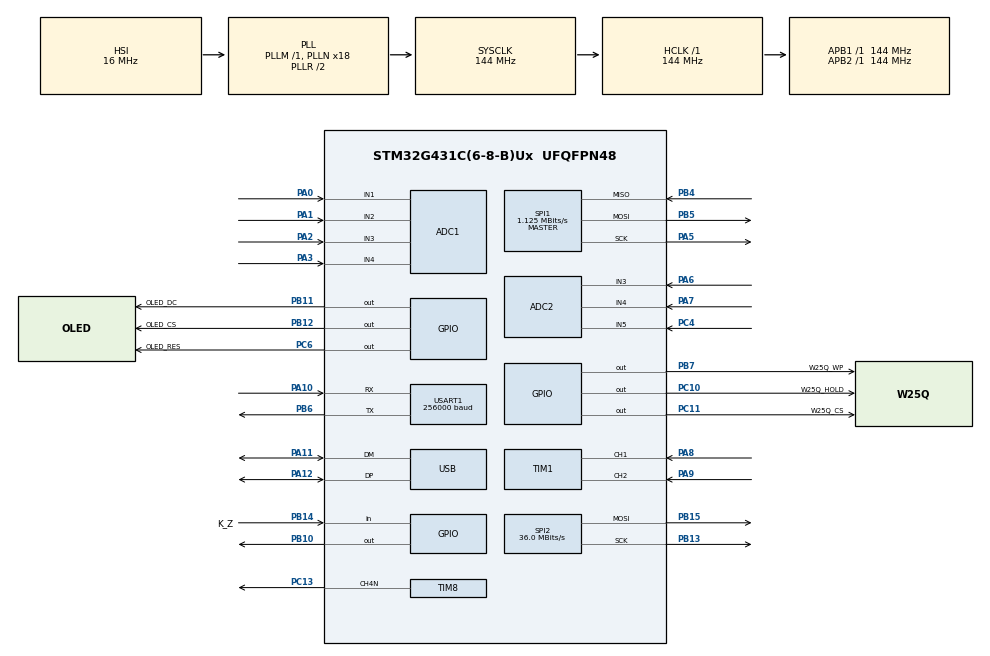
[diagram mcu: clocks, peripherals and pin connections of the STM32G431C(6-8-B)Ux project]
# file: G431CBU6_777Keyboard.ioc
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ADC1.Channel-0\#ChannelRegularConversion=ADC_CHANNEL_4
ADC1.Channel-1\#ChannelRegularConversion=ADC_CHANNEL_3
ADC1.Channel-2\#ChannelRegularConversion=ADC_CHANNEL_2
ADC1.Channel-3\#ChannelRegularConversion=ADC_CHANNEL_1
ADC1.DMAContinuousRequests=DISABLE
ADC1.EnableAnalogWatchDog1=true
ADC1.NbrOfConversion=4
ADC1.NbrOfConversionFlag=1
ADC1.OffsetNumber-0\#ChannelRegularConversion=ADC_OFFSET_NONE
ADC1.OffsetNumber-1\#ChannelRegularConversion=ADC_OFFSET_NONE
ADC1.OffsetNumber-2\#ChannelRegularConversion=ADC_OFFSET_NONE
ADC1.OffsetNumber-3\#ChannelRegularConversion=ADC_OFFSET_NONE
ADC1.OversamplingMode=ENABLE
ADC1.Rank-0\#ChannelRegularConversion=1
ADC1.Rank-1\#ChannelRegularConversion=2
ADC1.Rank-2\#ChannelRegularConversion=3
ADC1.Rank-3\#ChannelRegularConversion=4
ADC1.Ratio=ADC_OVERSAMPLING_RATIO_256
ADC1.RightBitShift=ADC_RIGHTBITSHIFT_4
ADC1.SamplingTime-0\#ChannelRegularConversion=ADC_SAMPLETIME_92CYCLES_5
ADC1.SamplingTime-1\#ChannelRegularConversion=ADC_SAMPLETIME_92CYCLES_5
ADC1.SamplingTime-2\#ChannelRegularConversion=ADC_SAMPLETIME_92CYCLES_5
ADC1.SamplingTime-3\#ChannelRegularConversion=ADC_SAMPLETIME_92CYCLES_5
ADC1.WatchdogChannel=ADC_CHANNEL_4
ADC1.master=1
ADC2.Channel-2\#ChannelRegularConversion=ADC_CHANNEL_5
ADC2.Channel-5\#ChannelRegularConversion=ADC_CHANNEL_4
ADC2.Channel-6\#ChannelRegularConversion=ADC_CHANNEL_3
ADC2.DMAContinuousRequests=DISABLE
ADC2.NbrOfConversion=3
ADC2.NbrOfConversionFlag=1
ADC2.OffsetNumber-2\#ChannelRegularConversion=ADC_OFFSET_NONE
ADC2.OffsetNumber-5\#ChannelRegularConversion=ADC_OFFSET_NONE
ADC2.OffsetNumber-6\#ChannelRegularConversion=ADC_OFFSET_NONE
ADC2.OversamplingMode=ENABLE
ADC2.OversamplingStopReset=ADC_REGOVERSAMPLING_CONTINUED_MODE
ADC2.Rank-2\#ChannelRegularConversion=1
ADC2.Rank-5\#ChannelRegularConversion=2
ADC2.Rank-6\#ChannelRegularConversion=3
ADC2.Ratio=ADC_OVERSAMPLING_RATIO_256
ADC2.RightBitShift=ADC_RIGHTBITSHIFT_4
ADC2.SamplingTime-2\#ChannelRegularConversion=ADC_SAMPLETIME_92CYCLES_5
ADC2.SamplingTime-5\#ChannelRegularConversion=ADC_SAMPLETIME_92CYCLES_5
ADC2.SamplingTime-6\#ChannelRegularConversion=ADC_SAMPLETIME_92CYCLES_5
Dma.ADC1.0.Direction=DMA_PERIPH_TO_MEMORY
Dma.ADC1.0.EventEnable=DISABLE
Dma.ADC1.0.Instance=DMA1_Channel1
Dma.ADC1.0.MemDataAlignment=DMA_MDATAALIGN_WORD
Dma.ADC1.0.MemInc=DMA_MINC_ENABLE
Dma.ADC1.0.Mode=DMA_NORMAL
Dma.ADC1.0.PeriphDataAlignment=DMA_PDATAALIGN_WORD
Dma.ADC1.0.PeriphInc=DMA_PINC_DISABLE
Dma.ADC1.0.Polarity=HAL_DMAMUX_REQ_GEN_RISING
Dma.ADC1.0.Priority=DMA_PRIORITY_LOW
Dma.ADC1.0.RequestNumber=1
Dma.ADC1.0.SignalID=NONE
Dma.ADC1.0.SyncEnable=DISABLE
Dma.ADC1.0.SyncPolarity=HAL_DMAMUX_SYNC_NO_EVENT
Dma.ADC1.0.SyncRequestNumber=1
Dma.ADC1.0.SyncSignalID=NONE
Dma.ADC2.1.Direction=DMA_PERIPH_TO_MEMORY
Dma.ADC2.1.EventEnable=DISABLE
Dma.ADC2.1.Instance=DMA2_Channel2
Dma.ADC2.1.MemDataAlignment=DMA_MDATAALIGN_WORD
Dma.ADC2.1.MemInc=DMA_MINC_ENABLE
Dma.ADC2.1.Mode=DMA_NORMAL
Dma.ADC2.1.PeriphDataAlignment=DMA_PDATAALIGN_WORD
Dma.ADC2.1.PeriphInc=DMA_PINC_DISABLE
Dma.ADC2.1.Polarity=HAL_DMAMUX_REQ_GEN_RISING
Dma.ADC2.1.Priority=DMA_PRIORITY_LOW
Dma.ADC2.1.RequestNumber=1
Dma.ADC2.1.SignalID=NONE
Dma.ADC2.1.SyncEnable=DISABLE
Dma.ADC2.1.SyncPolarity=HAL_DMAMUX_SYNC_NO_EVENT
Dma.ADC2.1.SyncRequestNumber=1
Dma.ADC2.1.SyncSignalID=NONE
Dma.MEMTOMEM.2.Direction=DMA_MEMORY_TO_MEMORY
Dma.MEMTOMEM.2.EventEnable=DISABLE
Dma.MEMTOMEM.2.Instance=DMA2_Channel6
Dma.MEMTOMEM.2.MemDataAlignment=DMA_MDATAALIGN_HALFWORD
Dma.MEMTOMEM.2.MemInc=DMA_MINC_ENABLE
Dma.MEMTOMEM.2.Mode=DMA_NORMAL
Dma.MEMTOMEM.2.PeriphDataAlignment=DMA_PDATAALIGN_HALFWORD
Dma.MEMTOMEM.2.PeriphInc=DMA_PINC_ENABLE
Dma.MEMTOMEM.2.Polarity=HAL_DMAMUX_REQ_GEN_RISING
Dma.MEMTOMEM.2.Priority=DMA_PRIORITY_LOW
Dma.MEMTOMEM.2.RequestNumber=1
Dma.MEMTOMEM.2.SignalID=NONE
Dma.MEMTOMEM.2.SyncEnable=DISABLE
Dma.MEMTOMEM.2.SyncPolarity=HAL_DMAMUX_SYNC_NO_EVENT
Dma.MEMTOMEM.2.SyncRequestNumber=1
Dma.MEMTOMEM.2.SyncSignalID=NONE
Dma.Request0=ADC1
Dma.Request1=ADC2
Dma.Request2=MEMTOMEM
Mcu.Family=STM32G4
Mcu.Name=STM32G431C(6-8-B)Ux
Mcu.Package=UFQFPN48
NVIC.ADC1_2_IRQn=true\:0\:0\:true\:false\:true\:true\:true\:true
NVIC.DMA1_Channel1_IRQn=true\:0\:0\:false\:false\:true\:false\:true\:true
NVIC.DMA2_Channel2_IRQn=true\:0\:0\:false\:false\:true\:false\:true\:true
NVIC.FPU_IRQn=true\:0\:0\:false\:false\:true\:true\:false\:true
NVIC.PriorityGroup=NVIC_PRIORITYGROUP_2
NVIC.TIM1_CC_IRQn=true\:1\:0\:true\:false\:true\:true\:true\:true
NVIC.TIM2_IRQn=true\:0\:0\:false\:false\:true\:true\:true\:true
NVIC.TIM3_IRQn=true\:2\:0\:true\:false\:true\:true\:true\:true
NVIC.TIM4_IRQn=true\:2\:0\:true\:false\:true\:true\:true\:true
NVIC.TIM7_IRQn=true\:0\:0\:false\:false\:true\:true\:true\:true
NVIC.TIM8_BRK_IRQn=true\:2\:0\:true\:false\:true\:true\:true\:true
NVIC.TIM8_CC_IRQn=true\:2\:0\:true\:false\:true\:true\:true\:true
NVIC.TIM8_TRG_COM_IRQn=true\:2\:0\:true\:false\:true\:true\:true\:true
NVIC.TIM8_UP_IRQn=true\:2\:0\:true\:false\:true\:true\:true\:true
NVIC.USART1_IRQn=true\:1\:0\:true\:false\:true\:true\:true\:true
NVIC.USB_HP_IRQn=true\:0\:0\:true\:false\:true\:true\:true\:true
NVIC.USB_LP_IRQn=true\:1\:0\:true\:false\:true\:false\:true\:true
PA0.Mode=IN1-Single-Ended
PA0.Signal=ADC1_IN1
PA1.Mode=IN2-Single-Ended
PA1.Signal=ADC1_IN2
PA10.GPIO_Speed=GPIO_SPEED_FREQ_VERY_HIGH
PA10.Mode=Asynchronous
PA10.Signal=USART1_RX
PA11.Mode=Device
PA11.Signal=USB_DM
PA12.Mode=Device
PA12.Signal=USB_DP
PA13.Mode=Serial_Wire
PA13.Signal=SYS_JTMS-SWDIO
PA14.Mode=Serial_Wire
PA14.Signal=SYS_JTCK-SWCLK
PA2.Mode=IN3-Single-Ended
PA2.Signal=ADC1_IN3
PA3.Mode=IN4-Single-Ended
PA3.Signal=ADC1_IN4
PA5.GPIO_Mode=GPIO_MODE_AF_PP
PA5.GPIO_PuPd=GPIO_NOPULL
PA5.GPIO_Speed=GPIO_SPEED_FREQ_LOW
PA5.Mode=Full_Duplex_Master
PA5.Signal=SPI1_SCK
PA6.Mode=IN3-Single-Ended
PA6.Signal=ADC2_IN3
PA7.Mode=IN4-Single-Ended
PA7.Signal=ADC2_IN4
PA8.Signal=S_TIM1_CH1
PA9.Signal=S_TIM1_CH2
PB10.Signal=GPIO_Output
PB11.GPIO_Label=OLED_DC
PB11.GPIO_Speed=GPIO_SPEED_FREQ_VERY_HIGH
PB11.Signal=GPIO_Output
PB12.GPIO_Label=OLED_CS
PB12.GPIO_Speed=GPIO_SPEED_FREQ_VERY_HIGH
PB12.Signal=GPIO_Output
PB13.GPIO_PuPd=GPIO_PULLUP
PB13.GPIO_Speed=GPIO_SPEED_FREQ_VERY_HIGH
PB13.Mode=TX_Only_Simplex_Unidirect_Master
PB13.Signal=SPI2_SCK
PB14.GPIO_Label=K_Z
PB14.GPIO_PuPd=GPIO_PULLUP
PB14.Signal=GPIO_Input
PB15.GPIO_PuPd=GPIO_PULLUP
PB15.GPIO_Speed=GPIO_SPEED_FREQ_VERY_HIGH
PB15.Mode=TX_Only_Simplex_Unidirect_Master
PB15.Signal=SPI2_MOSI
PB4.GPIO_Mode=GPIO_MODE_AF_PP
PB4.GPIO_PuPd=GPIO_NOPULL
PB4.GPIO_Speed=GPIO_SPEED_FREQ_LOW
PB4.Mode=Full_Duplex_Master
PB4.Signal=SPI1_MISO
PB5.GPIO_Mode=GPIO_MODE_AF_PP
PB5.GPIO_PuPd=GPIO_NOPULL
PB5.GPIO_Speed=GPIO_SPEED_FREQ_LOW
PB5.Mode=Full_Duplex_Master
PB5.Signal=SPI1_MOSI
PB6.GPIO_Speed=GPIO_SPEED_FREQ_HIGH
PB6.Mode=Asynchronous
PB6.Signal=USART1_TX
PB7.GPIO_Label=W25Q_WP
PB7.Signal=GPIO_Output
PC10.GPIO_Label=W25Q_HOLD
PC10.Signal=GPIO_Output
PC11.GPIO_Label=W25Q_CS
PC11.GPIO_Speed=GPIO_SPEED_FREQ_VERY_HIGH
PC11.PinState=GPIO_PIN_SET
PC11.Signal=GPIO_Output
PC13.GPIO_ModeDefaultPP=GPIO_MODE_AF_OD
PC13.GPIO_PuPd=GPIO_NOPULL
PC13.Mode=PWM Generation4 CH4N
PC13.Signal=TIM8_CH4N
PC4.Mode=IN5-Single-Ended
PC4.Signal=ADC2_IN5
PC6.GPIO_Label=OLED_RES
PC6.GPIO_PuPd=GPIO_PULLUP
PC6.GPIO_Speed=GPIO_SPEED_FREQ_VERY_HIGH
PC6.Signal=GPIO_Output
PF0-OSC_IN.Mode=HSE-External-Oscillator
PF0-OSC_IN.Signal=RCC_OSC_IN
PF1-OSC_OUT.Mode=HSE-External-Oscillator
PF1-OSC_OUT.Signal=RCC_OSC_OUT
ProjectManager.HeapSize=0x200
ProjectManager.StackSize=0x400
ProjectManager.TargetToolchain=CMake
RCC.ADC12Freq_Value=144000000
RCC.AHBFreq_Value=144000000
RCC.APB1Freq_Value=144000000
RCC.APB1TimFreq_Value=144000000
RCC.APB2Freq_Value=144000000
RCC.APB2TimFreq_Value=144000000
RCC.CK48CLockSelection=RCC_USBCLKSOURCE_HSI48
RCC.CortexFreq_Value=144000000
RCC.EXTERNAL_CLOCK_VALUE=12288000
RCC.HCLKFreq_Value=144000000
RCC.HSE_VALUE=12000000
RCC.HSI48_VALUE=48000000
RCC.HSI_VALUE=16000000
RCC.LSE_VALUE=32768
RCC.PLLN=18
RCC.PLLQ=RCC_PLLQ_DIV6
RCC.SYSCLKFreq_VALUE=144000000
RCC.SYSCLKSource=RCC_SYSCLKSOURCE_PLLCLK
RCC.USBFreq_Value=48000000
RCC.VCOOutputFreq_Value=288000000
SH.S_TIM1_CH1.0=TIM1_CH1,Encoder_Interface
SH.S_TIM1_CH2.0=TIM1_CH2,Encoder_Interface
SPI1.BaudRatePrescaler=SPI_BAUDRATEPRESCALER_128
SPI1.CLKPhase=SPI_PHASE_2EDGE
SPI1.CLKPolarity=SPI_POLARITY_HIGH
SPI1.CalculateBaudRate=1.125 MBits/s
SPI1.DataSize=SPI_DATASIZE_8BIT
SPI1.Direction=SPI_DIRECTION_2LINES
SPI1.Mode=SPI_MODE_MASTER
SPI1.VirtualType=VM_MASTER
SPI2.BaudRatePrescaler=SPI_BAUDRATEPRESCALER_4
SPI2.CalculateBaudRate=36.0 MBits/s
SPI2.DataSize=SPI_DATASIZE_8BIT
SPI2.Direction=SPI_DIRECTION_2LINES
SPI2.Mode=SPI_MODE_MASTER
SPI2.VirtualType=VM_MASTER
TIM2.PeriodNoDither=170
TIM2.Prescaler=71
TIM3.PeriodNoDither=499
TIM3.Prescaler=1439
TIM4.PeriodNoDither=9999
TIM4.Prescaler=719
TIM7.PeriodNoDither=99
TIM7.Prescaler=1439
TIM8.AutoReloadPreload=TIM_AUTORELOAD_PRELOAD_ENABLE
TIM8.Channel-PWM\ Generation4\ CH4N=TIM_CHANNEL_4
TIM8.OCNPolarity_4=TIM_OCNPOLARITY_LOW
TIM8.PeriodNoDither=9999
TIM8.Prescaler=1
TIM8.PulseNoDither_4=0
TIM8.RepetitionCounter=9
USART1.BaudRate=256000
USART1.VirtualMode-Asynchronous=VM_ASYNC
USB_DEVICE.CLASS_NAME_FS=CUSTOM_HID
USB_DEVICE.CONFIGURATION_STRING_CUSTOMHID_FS=HID Config
USB_DEVICE.CUSTOM_HID_FS_BINTERVAL=0x01
USB_DEVICE.INTERFACE_STRING_CUSTOMHID_FS=HID Interface
USB_DEVICE.PID_CUSTOMHID_FS=486
USB_DEVICE.PRODUCT_STRING_CUSTOMHID_FS=STM32 Human interface
USB_DEVICE.USBD_CUSTOM_HID_REPORT_DESC_SIZE=59
USB_DEVICE.VID=0x1a2a
USB_DEVICE.VirtualMode=CustomHid
USB_DEVICE.VirtualModeFS=Custom_Hid_FS
VP_SYS_VS_DBSignals.Mode=DisableDeadBatterySignals
VP_TIM2_VS_ClockSourceINT.Mode=Internal
VP_TIM3_VS_ClockSourceINT.Mode=Internal
VP_TIM4_VS_ClockSourceINT.Mode=Internal
VP_TIM7_VS_ClockSourceINT.Mode=Enable_Timer
VP_TIM8_VS_ClockSourceINT.Mode=Internal
VP_USB_DEVICE_VS_USB_DEVICE_CUSTOM_HID_FS.Mode=CUSTOM_HID_FS
board=custom

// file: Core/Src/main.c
/* USER CODE BEGIN Header */
/**
  ******************************************************************************
  * @file           : main.c
  * @brief          : Main program body
  ******************************************************************************
  * @attention
  *
  * Copyright (c) 2025 STMicroelectronics.
  * All rights reserved.
  *
  * This software is licensed under terms that can be found in the LICENSE file
  * in the root directory of this software component.
  * If no LICENSE file comes with this software, it is provided AS-IS.
  *
  ******************************************************************************
  */
/* USER CODE END Header */
#include "main.h"
#include "adc.h"
#include "dma.h"
#include "spi.h"
#include "tim.h"
#include "usart.h"
#include "usb_device.h"
#include "gpio.h"

/* USER CODE BEGIN Includes */
// 包含例程菜单数据头文
#include "OLED_UI/OLED_UI_MenuData.h"
// 包含OLED_UI.h头文
#include "OLED_UI/OLED.h"

#include <stdio.h>
#include "User_Key.h"
#include "Flash.h"
#include "OLED_UI/OLED_UI.h"
#include "usbd_customhid.h"
#include "ws2812.h"

/* USER CODE END Includes */

/* USER CODE BEGIN PV */
//char TTL_Str[TTL_Long]={0};
int Key_Status;

extern int Key_Status;

/* USER CODE END PV */

void SystemClock_Config(void);

/* USER CODE BEGIN 0 */
void HAL_TIM_PeriodElapsedCallback(TIM_HandleTypeDef *htim){	//定时器中断函
		static uint8_t i=0;
		static uint32_t d =0;

	if(htim==ADC_Tim){//启动ADC转换

		HAL_ADC_Start_DMA(&hadc2,&ADC_To_DMA_2, 3);
		HAL_ADC_Start_DMA(&hadc1,&ADC_To_DMA, 4);

	}
	if(htim==Show_Tim){
		extern int Key_Status;
		Key_Status=Key_GetStatus();
		OLED_UI_InterruptHandler();
		if(i>=106){
//			rainbow_effect(1);
			i=0;
		}
		i++;
//		rainbow_effect(1);
	}
	if(htim==OLED_TIM){
	}

	  UNUSED(htim);

}

uint8_t RxBuff=0;

/* USER CODE END 0 */

int main(void)
{

  /* MCU Configuration--------------------------------------------------------*/

  /* Reset of all peripherals, Initializes the Flash interface and the Systick. */
  HAL_Init();

  /* Configure the system clock */
  SystemClock_Config();

  /* Initialize all configured peripherals */
  MX_GPIO_Init();
  MX_DMA_Init();
  MX_ADC1_Init();
  MX_ADC2_Init();
  MX_SPI1_Init();
  MX_SPI2_Init();
  MX_TIM1_Init();
  MX_USART1_UART_Init();
  MX_TIM3_Init();
  MX_TIM4_Init();
  MX_USB_Device_Init();
  MX_TIM8_Init();
  MX_TIM2_Init();
  MX_TIM7_Init();
  /* USER CODE BEGIN 2 */
//for(int i =0;i<1000;i++){
//	HAL_Delay(1);
//	HAL_GPIO_WritePin(GPIOB, GPIO_PIN_3, 0);
//	HAL_Delay(1);
//	HAL_GPIO_WritePin(GPIOB, GPIO_PIN_3, 1);
//}
	BSP_W25Q_Init();
	Keyboard_Init();
	OLED_UI_Init(&MainMenuPage);
	HAL_TIM_Base_Start_IT(ADC_Tim);
	HAL_TIM_Base_Start_IT(Show_Tim);
	HAL_TIM_Base_Start(Encoder_Tim);
//	HAL_TIM_Base_Start_IT(WS2812);
	//HAL_TIM_Base_Start_IT(&htim8);
	//HAL_TIM_Base_Start_IT(OLED_TIM);

	HAL_TIMEx_PWMN_Start(LED_Tim,LED_CHNNEL);
//	HAL_TIM_PWM_Start(LED_Tim,LED_CHNNEL);
	__HAL_TIM_SetCompare(LED_Tim,LED_CHNNEL,90);

//	HAL_TIM_PWM_Start(WS2812, WS2812_CHNNEL);
//

    HAL_UART_Receive_IT(Debug_USART, &RxBuff, 1);
//    rainbow_effect(1);
//    HAL_TIM_PWM_Start(WS2812, WS2812_CHNNEL);
//    __HAL_TIM_SetCompare(WS2812, WS2812_CHNNEL,50);
    //先发送1byte 的report ID，然后1byte的功能按键，然后1byte的LED，15byte的普通按键。
  /* USER CODE END 2 */

  /* Infinite loop */
  /* USER CODE BEGIN WHILE */
  while (1) {
//	  HAL_GPIO_WritePin(GPIOC, GPIO_PIN_10, 1);
	  OLED_UI_MainLoop();
//	  HAL_GPIO_WritePin(GPIOC, GPIO_PIN_10, 0);

		  USB_report();
    /* USER CODE END WHILE */

  }
}

void SystemClock_Config(void)
{
  RCC_OscInitTypeDef RCC_OscInitStruct = {0};
  RCC_ClkInitTypeDef RCC_ClkInitStruct = {0};

  /** Configure the main internal regulator output voltage
  */
  HAL_PWREx_ControlVoltageScaling(PWR_REGULATOR_VOLTAGE_SCALE1);

  /** Initializes the RCC Oscillators according to the specified parameters
  * in the RCC_OscInitTypeDef structure.
  */
  RCC_OscInitStruct.OscillatorType = RCC_OSCILLATORTYPE_HSI|RCC_OSCILLATORTYPE_HSI48;
  RCC_OscInitStruct.HSIState = RCC_HSI_ON;
  RCC_OscInitStruct.HSICalibrationValue = RCC_HSICALIBRATION_DEFAULT;
  RCC_OscInitStruct.HSI48State = RCC_HSI48_ON;
  RCC_OscInitStruct.PLL.PLLState = RCC_PLL_ON;
  RCC_OscInitStruct.PLL.PLLSource = RCC_PLLSOURCE_HSI;
  RCC_OscInitStruct.PLL.PLLM = RCC_PLLM_DIV1;
  RCC_OscInitStruct.PLL.PLLN = 18;
  RCC_OscInitStruct.PLL.PLLP = RCC_PLLP_DIV2;
  RCC_OscInitStruct.PLL.PLLQ = RCC_PLLQ_DIV6;
  RCC_OscInitStruct.PLL.PLLR = RCC_PLLR_DIV2;
  if (HAL_RCC_OscConfig(&RCC_OscInitStruct) != HAL_OK)
  {
    Error_Handler();
  }

  /** Initializes the CPU, AHB and APB buses clocks
  */
  RCC_ClkInitStruct.ClockType = RCC_CLOCKTYPE_HCLK|RCC_CLOCKTYPE_SYSCLK
                              |RCC_CLOCKTYPE_PCLK1|RCC_CLOCKTYPE_PCLK2;
  RCC_ClkInitStruct.SYSCLKSource = RCC_SYSCLKSOURCE_PLLCLK;
  RCC_ClkInitStruct.AHBCLKDivider = RCC_SYSCLK_DIV1;
  RCC_ClkInitStruct.APB1CLKDivider = RCC_HCLK_DIV1;
  RCC_ClkInitStruct.APB2CLKDivider = RCC_HCLK_DIV1;

  if (HAL_RCC_ClockConfig(&RCC_ClkInitStruct, FLASH_LATENCY_4) != HAL_OK)
  {
    Error_Handler();
  }
}

/* USER CODE BEGIN 4 */
void HAL_UART_RxCpltCallback(UART_HandleTypeDef*UartHandle)
{
    if(UartHandle==Debug_USART) {
        const char absk[] = "absk";
        const char save[] = "save";
        const char rest_Config[] = "CFG reset";
        static uint32_t RxLine = 0;
        RxLine++;//每接收到一个数据，进入回调数据长度加1
        static uint8_t DataBuff[20] = {0};
        DataBuff[RxLine - 1] = RxBuff;  //把每次接收到的数据保存到缓存数组

        if (RxBuff == '/')   //接收结束标志位，这个数据可以自定义，根据实际需求
        {
            int i=0;
//            if (!strncmp((char *) DataBuff, absk, sizeof (absk)-2)) {
//                HAL_UART_Transmit(Debug_USART, "开始校准...", sizeof("开始校准..."), 999);
//                Fadjusting_Window();
//            }
            if (!strncmp((char *) DataBuff, save, sizeof(save)-2)) {
                HAL_UART_Transmit(Debug_USART, "保存...", sizeof("保存..."), 999);
                Save_Keyboard_Config();

            }
            if (!strncmp((char *) DataBuff, rest_Config, sizeof(rest_Config)-2)) {
                HAL_UART_Transmit(Debug_USART, "重置键盘设置", sizeof("重置键盘设置"), 999);
                Keyboard_Config_reset();

            }
            memset(DataBuff, 0, sizeof(DataBuff));  //清空缓存数组
            RxLine = 0;  //清空接收长度

        }

        RxBuff = 0;
        HAL_UART_Receive_IT(Debug_USART, &RxBuff, 1);
        //每接收一个数据，就打开一次串口中断接收，否则只会接收一个数据就停止接收
    }
}
/* USER CODE END 4 */

void Error_Handler(void)
{
  __disable_irq();
  while (1)
  {
  }
}
